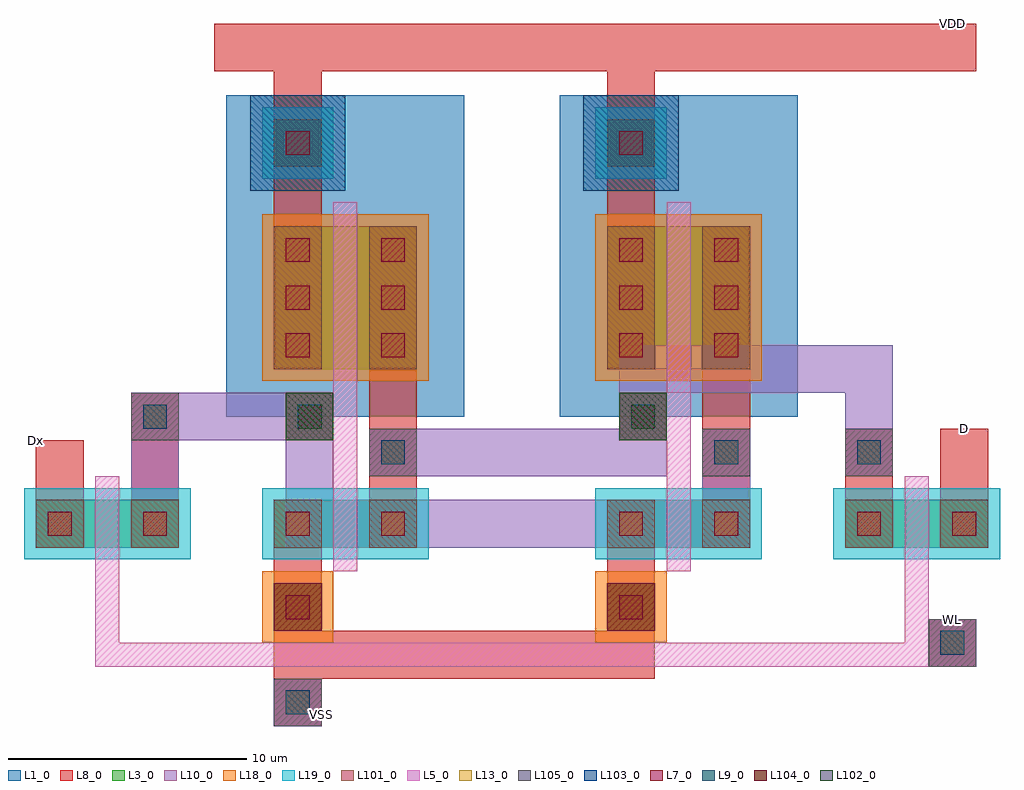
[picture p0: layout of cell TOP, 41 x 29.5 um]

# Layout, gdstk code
import gdstk
lib = gdstk.Library(unit=1e-6, precision=1e-09)
def R(c, l, rs):  # rectangles x0, y0, x1, y1
    for r in rs: c.add(gdstk.rectangle(r[:2], r[2:], *l))
L1_0 = (1, 0)
L3_0 = (3, 0)
L5_0 = (5, 0)
L7_0 = (7, 0)
L8_0 = (8, 0)
L9_0 = (9, 0)
L10_0 = (10, 0)
L13_0 = (13, 0)
L18_0 = (18, 0)
L19_0 = (19, 0)
L101_0 = (101, 0)
L102_0 = (102, 0)
L103_0 = (103, 0)
L104_0 = (104, 0)
L105_0 = (105, 0)

via = lib.new_cell('Via')
R(via, L8_0, [(-1,-1,1,1)])
R(via, L9_0, [(-0.5,-0.5,0.5,0.5)])
R(via, L10_0, [(-1,-1,1,1)])
R(via, L13_0, [(-0.5,-0.5,0.5,0.5)])
R(via, L105_0, [(-1,-1,1,1)])
via.add(gdstk.Label('via', (0,0), layer=13, texttype=0))

dcont = lib.new_cell('dcont')
R(dcont, L3_0, [(-1,-1,1,1)])
R(dcont, L7_0, [(-0.5,-0.5,0.5,0.5)])
R(dcont, L8_0, [(-1,-1,1,1)])
R(dcont, L13_0, [(-0.5,-0.5,0.5,0.5)])
R(dcont, L101_0, [(-1,-1,1,1)])
dcont.add(gdstk.Label('dcont', (0,0), layer=13, texttype=0))

psubcont = lib.new_cell('psubcont')
R(psubcont, L18_0, [(-1.5,-1.5,1.5,1.5)])
R(psubcont, L104_0, [(-1,-1,1,1)])
psubcont.add(gdstk.Reference(dcont, (0,0)))
psubcont.add(gdstk.Label('PScon', (0,0), layer=13, texttype=0))

pcont = lib.new_cell('pcont')
R(pcont, L5_0, [(-1,-1,1,1)])
R(pcont, L7_0, [(-0.5,-0.5,0.5,0.5)])
R(pcont, L8_0, [(-1,-1,1,1)])
R(pcont, L13_0, [(-0.5,-0.5,0.5,0.5)])
R(pcont, L102_0, [(-1,-1,1,1)])
pcont.add(gdstk.Label('pcont', (0,0), layer=13, texttype=0))

nsubcont = lib.new_cell('nsubcont')
R(nsubcont, L1_0, [(-2,-2,2,2)])
R(nsubcont, L19_0, [(-1.5,-1.5,1.5,1.5)])
R(nsubcont, L103_0, [(-2,-2,2,2)])
nsubcont.add(gdstk.Reference(dcont, (0,0)))
nsubcont.add(gdstk.Label('NScont', (0,0), layer=13, texttype=0))

top = lib.new_cell('TOP')
R(top, L1_0, [(-4,-6.5,6,7), (10,-6.5,20,7)])
R(top, L3_0, [(-12,-12,-6,-10), (-2,-12,4,-10), (12,-12,18,-10), (22,-12,28,-10), (-2,-4.5,4,1.5), (12,-4.5,18,1.5)])
R(top, L8_0, [(-2,-17.5,14,-15.5), (-2,-13.5,0,-12), (12,-13.5,14,-12), (-12,-10,-10,-7.5), (-8,-10,-6,-7.5), (2,-10,4,-9), (16,-10,18,-9), (22,-10,24,-9), (26,-10,28,-7), (2,-7,4,-4.5), (16,-7,18,-4.5), (-2,1.5,0,4), (12,1.5,14,4), (-2,6,0,8), (12,6,14,8), (-4.5,8,27.5,10)])
R(top, L10_0, [(-1.5,-12,16,-10), (16,-12,18,-9), (-8,-10,-6,-7.5), (-1.5,-10,0.5,-7.5), (4,-9,12.5,-7), (12.5,-9,14.5,-7.5), (-6,-7.5,-1.5,-5.5), (22,-7,24,-5.5), (12.5,-5.5,24,-3.5)])
R(top, L18_0, [(-2.5,-5,4.5,2), (11.5,-5,18.5,2)])
R(top, L19_0, [(-12.5,-12.5,-5.5,-9.5), (-2.5,-12.5,4.5,-9.5), (11.5,-12.5,18.5,-9.5), (21.5,-12.5,28.5,-9.5)])
top.add(gdstk.FlexPath([(15,2.5),(15,-5.5)], 1, ends="flush", simple_path=True, layer=5, datatype=0))  # L5_0
top.add(gdstk.FlexPath([(1,2.5),(1,-5.5)], 1, ends="flush", simple_path=True, layer=5, datatype=0))  # L5_0
top.add(gdstk.FlexPath([(1,-9),(1,-13)], 1, ends="flush", simple_path=True, layer=5, datatype=0))  # L5_0
top.add(gdstk.FlexPath([(1,-5.5),(1,-9),(1,-9)], 1, ends="flush", simple_path=True, layer=5, datatype=0))  # L5_0
top.add(gdstk.FlexPath([(15,-9),(15,-13)], 1, ends="flush", simple_path=True, layer=5, datatype=0))  # L5_0
top.add(gdstk.FlexPath([(15,-5.5),(15,-9),(15,-9)], 1, ends="flush", simple_path=True, layer=5, datatype=0))  # L5_0
top.add(gdstk.FlexPath([(25,-9),(25,-13)], 1, ends="flush", simple_path=True, layer=5, datatype=0))  # L5_0
top.add(gdstk.FlexPath([(-9,-9),(-9,-13)], 1, ends="flush", simple_path=True, layer=5, datatype=0))  # L5_0
top.add(gdstk.FlexPath([(-9,-13),(-9,-16.5),(25,-16.5),(25,-13)], 1, ends="flush", simple_path=True, layer=5, datatype=0))  # L5_0
top.add(gdstk.Reference(via, (26.5,-16)))
top.add(gdstk.Reference(via, (-1,-18.5)))
top.add(gdstk.Reference(via, (23,-8)))
top.add(gdstk.Reference(via, (-7,-6.5)))
top.add(gdstk.Reference(dcont, (-11,-11)))
top.add(gdstk.Reference(dcont, (-7,-11)))
top.add(gdstk.Reference(dcont, (23,-11)))
top.add(gdstk.Reference(dcont, (27,-11)))
top.add(gdstk.Reference(dcont, (13,-11)))
top.add(gdstk.Reference(dcont, (17,-11)))
top.add(gdstk.Reference(psubcont, (13,-14.5)))
top.add(gdstk.Reference(via, (13.5,-6.5)))
top.add(gdstk.Reference(via, (17,-8)))
top.add(gdstk.Reference(pcont, (13.5,-6.5)))
top.add(gdstk.Reference(dcont, (17,-3.5)))
top.add(gdstk.Reference(dcont, (17,-1.5)))
top.add(gdstk.Reference(dcont, (17,0.5)))
top.add(gdstk.Reference(dcont, (13,-3.5)))
top.add(gdstk.Reference(dcont, (13,-1.5)))
top.add(gdstk.Reference(dcont, (13,0.5)))
top.add(gdstk.Reference(nsubcont, (13,5)))
top.add(gdstk.Reference(via, (-0.5,-6.5)))
top.add(gdstk.Reference(via, (3,-8)))
top.add(gdstk.Reference(pcont, (-0.5,-6.5)))
top.add(gdstk.Reference(psubcont, (-1,-14.5)))
top.add(gdstk.Reference(dcont, (3,-11)))
top.add(gdstk.Reference(dcont, (-1,-11)))
top.add(gdstk.Reference(dcont, (3,-3.5)))
top.add(gdstk.Reference(dcont, (3,-1.5)))
top.add(gdstk.Reference(dcont, (3,0.5)))
top.add(gdstk.Reference(dcont, (-1,-3.5)))
top.add(gdstk.Reference(dcont, (-1,-1.5)))
top.add(gdstk.Reference(dcont, (-1,0.5)))
top.add(gdstk.Reference(nsubcont, (-1,5)))
top.add(gdstk.Label('VDD', (26.5,10), layer=8, texttype=0))
top.add(gdstk.Label('VSS', (0,-19), layer=8, texttype=0))
top.add(gdstk.Label('D', (27,-7), layer=8, texttype=0))
top.add(gdstk.Label('WL', (26.5,-15), layer=8, texttype=0))
top.add(gdstk.Label('Dx', (-12,-7.5), layer=8, texttype=0))

lib.write_gds('TOP.gds')
